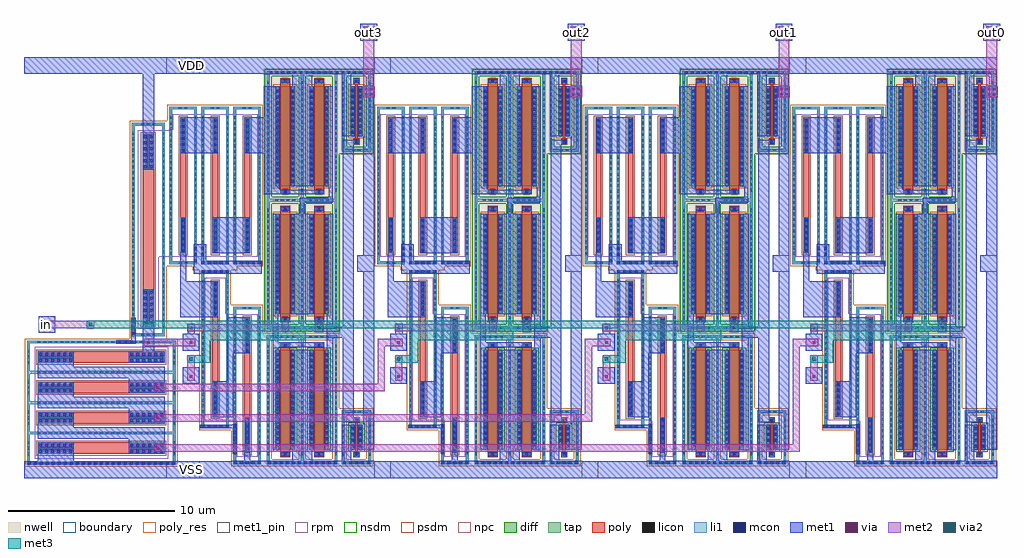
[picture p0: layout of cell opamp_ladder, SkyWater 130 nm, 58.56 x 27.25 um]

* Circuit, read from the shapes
.subckt opamp_ladder VDD VSS in out0 out1 out2 out3
XM1 VSS n1 n1 VSS sky130_fd_pr__nfet_01v8 w=6 l=0.6
XM2 n2 n1 VSS VSS sky130_fd_pr__nfet_01v8 w=6 l=0.6
XM3 out3 n2 VSS VSS sky130_fd_pr__nfet_01v8 w=1.5 l=0.15
XM4 VSS n3 n3 VSS sky130_fd_pr__nfet_01v8 w=6 l=0.6
XM5 n4 n3 VSS VSS sky130_fd_pr__nfet_01v8 w=6 l=0.6
XM6 out2 n4 VSS VSS sky130_fd_pr__nfet_01v8 w=1.5 l=0.15
XM7 VSS n5 n5 VSS sky130_fd_pr__nfet_01v8 w=6 l=0.6
XM8 n6 n5 VSS VSS sky130_fd_pr__nfet_01v8 w=6 l=0.6
XM9 out1 n6 VSS VSS sky130_fd_pr__nfet_01v8 w=1.5 l=0.15
XM10 VSS n7 n7 VSS sky130_fd_pr__nfet_01v8 w=6 l=0.6
XM11 n8 n7 VSS VSS sky130_fd_pr__nfet_01v8 w=6 l=0.6
XM12 out0 n8 VSS VSS sky130_fd_pr__nfet_01v8 w=1.5 l=0.15
XM13 n9 opamp_5/vin_n n1 VDD sky130_fd_pr__pfet_01v8 w=6 l=0.6
XM14 VDD n10 n10 VDD sky130_fd_pr__pfet_01v8 w=6 l=0.6
XM15 n2 in n9 VDD sky130_fd_pr__pfet_01v8 w=6 l=0.6
XM16 n9 n10 VDD VDD sky130_fd_pr__pfet_01v8 w=6 l=0.6
XM17 out3 n2 VDD VDD sky130_fd_pr__pfet_01v8 w=3 l=0.15
XM18 n11 opamp_6/vin_n n3 VDD sky130_fd_pr__pfet_01v8 w=6 l=0.6
XM19 VDD n12 n12 VDD sky130_fd_pr__pfet_01v8 w=6 l=0.6
XM20 n4 in n11 VDD sky130_fd_pr__pfet_01v8 w=6 l=0.6
XM21 n11 n12 VDD VDD sky130_fd_pr__pfet_01v8 w=6 l=0.6
XM22 out2 n4 VDD VDD sky130_fd_pr__pfet_01v8 w=3 l=0.15
XM23 n13 opamp_7/vin_n n5 VDD sky130_fd_pr__pfet_01v8 w=6 l=0.6
XM24 VDD n14 n14 VDD sky130_fd_pr__pfet_01v8 w=6 l=0.6
XM25 n6 in n13 VDD sky130_fd_pr__pfet_01v8 w=6 l=0.6
XM26 n13 n14 VDD VDD sky130_fd_pr__pfet_01v8 w=6 l=0.6
XM27 out1 n6 VDD VDD sky130_fd_pr__pfet_01v8 w=3 l=0.15
XM28 n15 opamp_8/vin_n n7 VDD sky130_fd_pr__pfet_01v8 w=6 l=0.6
XM29 VDD n16 n16 VDD sky130_fd_pr__pfet_01v8 w=6 l=0.6
XM30 n8 in n15 VDD sky130_fd_pr__pfet_01v8 w=6 l=0.6
XM31 n15 n16 VDD VDD sky130_fd_pr__pfet_01v8 w=6 l=0.6
XM32 out0 n8 VDD VDD sky130_fd_pr__pfet_01v8 w=3 l=0.15
XR33 opamp_8/vin_n VSS VSS sky130_fd_pr__res_high_po w=0.69 l=3.33
XR34 opamp_7/vin_n opamp_8/vin_n VSS sky130_fd_pr__res_high_po w=0.69 l=3.33
XR35 opamp_6/vin_n opamp_7/vin_n VSS sky130_fd_pr__res_high_po w=0.69 l=3.33
XR36 opamp_5/vin_n opamp_6/vin_n VSS sky130_fd_pr__res_high_po w=0.69 l=3.33
XR37 VDD opamp_5/vin_n VSS sky130_fd_pr__res_high_po w=0.69 l=7.22
XR38 n17 n18 VSS sky130_fd_pr__res_high_po w=0.35 l=3.88
XR39 n18 n19 VSS sky130_fd_pr__res_high_po w=0.35 l=3.88
XR40 n17 n20 VSS sky130_fd_pr__res_high_po w=0.35 l=3.88
XR41 n19 VSS VSS sky130_fd_pr__res_high_po w=0.35 l=3.88
XR42 n10 n20 VSS sky130_fd_pr__res_high_po w=0.35 l=3.88
XR43 n21 n22 VSS sky130_fd_pr__res_high_po w=0.35 l=3.88
XR44 n22 n23 VSS sky130_fd_pr__res_high_po w=0.35 l=3.88
XR45 n21 n24 VSS sky130_fd_pr__res_high_po w=0.35 l=3.88
XR46 n23 VSS VSS sky130_fd_pr__res_high_po w=0.35 l=3.88
XR47 n12 n24 VSS sky130_fd_pr__res_high_po w=0.35 l=3.88
XR48 n25 n26 VSS sky130_fd_pr__res_high_po w=0.35 l=3.88
XR49 n26 n27 VSS sky130_fd_pr__res_high_po w=0.35 l=3.88
XR50 n25 n28 VSS sky130_fd_pr__res_high_po w=0.35 l=3.88
XR51 n27 VSS VSS sky130_fd_pr__res_high_po w=0.35 l=3.88
XR52 n14 n28 VSS sky130_fd_pr__res_high_po w=0.35 l=3.88
XR53 n29 n30 VSS sky130_fd_pr__res_high_po w=0.35 l=3.88
XR54 n30 n31 VSS sky130_fd_pr__res_high_po w=0.35 l=3.88
XR55 n29 n32 VSS sky130_fd_pr__res_high_po w=0.35 l=3.88
XR56 n31 VSS VSS sky130_fd_pr__res_high_po w=0.35 l=3.88
XR57 n16 n32 VSS sky130_fd_pr__res_high_po w=0.35 l=3.88
.ends

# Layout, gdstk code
from math import pi, radians
import gdstk
lib = gdstk.Library(unit=1e-6, precision=1e-09)
def R(c, l, rs):  # rectangles x0, y0, x1, y1
    for r in rs: c.add(gdstk.rectangle(r[:2], r[2:], *l))
def A(c, l, x, y, w, h, nx, ny, dx, dy):  # array of equal rectangles
    R(c, l, [(x+i*dx, y+j*dy, x+i*dx+w, y+j*dy+h) for i in range(nx) for j in range(ny)])
nwell = (64, 20)
diff = (65, 20)
tap = (65, 44)
poly_res = (66, 13)
poly = (66, 20)
licon = (66, 44)
li1 = (67, 20)
mcon = (67, 44)
met1_pin = (68, 16)
met1 = (68, 20)
via = (68, 44)
met2 = (69, 20)
via2 = (69, 44)
met3 = (70, 20)
rpm = (86, 20)
nsdm = (93, 44)
psdm = (94, 20)
npc = (95, 20)
boundary = (235, 4)

sky130_fd_pr__res_high_p = lib.new_cell('sky130_fd_pr__res_high_po_0p69_B9B9MH')
R(sky130_fd_pr__res_high_p, tap, [(-0.995,-4.455,0.995,-4.285), (-0.995,-4.285,-0.825,4.285), (0.825,-4.285,0.995,4.285), (-0.995,4.285,0.995,4.455)])
R(sky130_fd_pr__res_high_p, poly_res, [(-0.345,-1.725,0.345,1.725)])
R(sky130_fd_pr__res_high_p, poly, [(-0.345,-3.805,0.345,3.805)])
A(sky130_fd_pr__res_high_p, licon, -0.425, -4.455, 0.17, 0.17, 3, 2, 0.34, 8.74)
A(sky130_fd_pr__res_high_p, licon, -0.995, -3.825, 0.17, 0.17, 1, 23, 0, 0.34)
A(sky130_fd_pr__res_high_p, licon, 0.825, -3.825, 0.17, 0.17, 1, 23, 0, 0.34)
R(sky130_fd_pr__res_high_p, licon, [(-0.095,-3.725,0.095,-1.725), (-0.095,1.725,0.095,3.725)])
R(sky130_fd_pr__res_high_p, li1, [(-0.995,-4.455,0.995,-4.285), (-0.995,-4.285,-0.825,4.285), (0.825,-4.285,0.995,4.285), (-0.345,-3.805,0.345,-1.645), (-0.345,1.645,0.345,3.805), (-0.995,4.285,0.995,4.455)])
A(sky130_fd_pr__res_high_p, mcon, -0.265, -3.71, 0.17, 0.17, 1, 6, 0, 0.36)
A(sky130_fd_pr__res_high_p, mcon, 0.095, -3.71, 0.17, 0.17, 1, 6, 0, 0.36)
A(sky130_fd_pr__res_high_p, mcon, -0.265, 1.735, 0.17, 0.17, 1, 6, 0, 0.36)
A(sky130_fd_pr__res_high_p, mcon, 0.095, 1.735, 0.17, 0.17, 1, 6, 0, 0.36)
R(sky130_fd_pr__res_high_p, met1, [(-0.295,-3.775,0.295,-1.67), (-0.295,1.67,0.295,3.775)])
R(sky130_fd_pr__res_high_p, rpm, [(-0.635,-4.005,0.635,4.005)])
R(sky130_fd_pr__res_high_p, psdm, [(-1.12,-4.58,1.12,4.58)])
R(sky130_fd_pr__res_high_p, npc, [(-0.44,-3.9,0.44,3.9)])
R(sky130_fd_pr__res_high_p, boundary, [(-0.91,-4.37,0.91,4.37)])

c_sky130_fd_pr__res_high_p = lib.new_cell('sky130_fd_pr__res_high_po_0p69_PFVE8M')
R(c_sky130_fd_pr__res_high_p, tap, [(-0.995,-6.4,0.995,-6.23), (-0.995,-6.23,-0.825,6.23), (0.825,-6.23,0.995,6.23), (-0.995,6.23,0.995,6.4)])
R(c_sky130_fd_pr__res_high_p, poly_res, [(-0.345,-3.67,0.345,3.67)])
R(c_sky130_fd_pr__res_high_p, poly, [(-0.345,-5.75,0.345,5.75)])
A(c_sky130_fd_pr__res_high_p, licon, -0.425, -6.4, 0.17, 0.17, 3, 2, 0.34, 12.63)
A(c_sky130_fd_pr__res_high_p, licon, -0.995, -5.865, 0.17, 0.17, 1, 35, 0, 0.34)
A(c_sky130_fd_pr__res_high_p, licon, 0.825, -5.865, 0.17, 0.17, 1, 35, 0, 0.34)
R(c_sky130_fd_pr__res_high_p, licon, [(-0.095,-5.67,0.095,-3.67), (-0.095,3.67,0.095,5.67)])
R(c_sky130_fd_pr__res_high_p, li1, [(-0.995,-6.4,0.995,-6.23), (-0.995,-6.23,-0.825,6.23), (0.825,-6.23,0.995,6.23), (-0.345,-5.75,0.345,-3.59), (-0.345,3.59,0.345,5.75), (-0.995,6.23,0.995,6.4)])
A(c_sky130_fd_pr__res_high_p, mcon, -0.265, -5.655, 0.17, 0.17, 1, 6, 0, 0.36)
A(c_sky130_fd_pr__res_high_p, mcon, 0.095, -5.655, 0.17, 0.17, 1, 6, 0, 0.36)
A(c_sky130_fd_pr__res_high_p, mcon, -0.265, 3.68, 0.17, 0.17, 1, 6, 0, 0.36)
A(c_sky130_fd_pr__res_high_p, mcon, 0.095, 3.68, 0.17, 0.17, 1, 6, 0, 0.36)
R(c_sky130_fd_pr__res_high_p, met1, [(-0.295,-5.72,0.295,-3.615), (-0.295,3.615,0.295,5.72)])
R(c_sky130_fd_pr__res_high_p, rpm, [(-0.635,-5.95,0.635,5.95)])
R(c_sky130_fd_pr__res_high_p, psdm, [(-1.12,-6.525,1.12,6.525)])
R(c_sky130_fd_pr__res_high_p, npc, [(-0.44,-5.845,0.44,5.845)])
R(c_sky130_fd_pr__res_high_p, boundary, [(-0.91,-6.315,0.91,6.315)])

c_sky130_fd_pr__res_high_p_ = lib.new_cell('sky130_fd_pr__res_high_po_0p35_WFRDHL')
R(c_sky130_fd_pr__res_high_p_, tap, [(-0.825,-4.73,0.825,-4.56), (-0.825,-4.56,-0.655,4.56), (0.655,-4.56,0.825,4.56), (-0.825,4.56,0.825,4.73)])
R(c_sky130_fd_pr__res_high_p_, poly_res, [(-0.175,-2,0.175,2)])
R(c_sky130_fd_pr__res_high_p_, poly, [(-0.175,-4.08,0.175,4.08)])
A(c_sky130_fd_pr__res_high_p_, licon, -0.825, -4.165, 0.17, 0.17, 1, 25, 0, 0.34)
A(c_sky130_fd_pr__res_high_p_, licon, 0.655, -4.165, 0.17, 0.17, 1, 25, 0, 0.34)
R(c_sky130_fd_pr__res_high_p_, licon, [(-0.255,-4.73,-0.085,-4.56), (0.085,-4.73,0.255,-4.56), (-0.095,-4,0.095,-2), (-0.095,2,0.095,4), (-0.255,4.56,-0.085,4.73), (0.085,4.56,0.255,4.73)])
R(c_sky130_fd_pr__res_high_p_, li1, [(-0.825,-4.73,0.825,-4.56), (-0.825,-4.56,-0.655,4.56), (0.655,-4.56,0.825,4.56), (-0.175,-4.08,0.175,-1.92), (-0.175,1.92,0.175,4.08), (-0.825,4.56,0.825,4.73)])
A(c_sky130_fd_pr__res_high_p_, mcon, -0.085, -3.985, 0.17, 0.17, 1, 6, 0, 0.36)
A(c_sky130_fd_pr__res_high_p_, mcon, -0.085, 2.01, 0.17, 0.17, 1, 6, 0, 0.36)
R(c_sky130_fd_pr__res_high_p_, met1, [(-0.125,-4.05,0.125,-1.945), (-0.125,1.945,0.125,4.05)])
R(c_sky130_fd_pr__res_high_p_, rpm, [(-0.635,-4.28,0.635,4.28)])
R(c_sky130_fd_pr__res_high_p_, psdm, [(-0.95,-4.855,0.95,4.855)])
R(c_sky130_fd_pr__res_high_p_, npc, [(-0.27,-4.175,0.27,4.175)])
R(c_sky130_fd_pr__res_high_p_, boundary, [(-0.74,-4.645,0.74,4.645)])

sky130_fd_pr__pfet_01v8_ = lib.new_cell('sky130_fd_pr__pfet_01v8_XPP7BA')
R(sky130_fd_pr__pfet_01v8_, nwell, [(-1.28,-4.095,1.28,4.095)])
R(sky130_fd_pr__pfet_01v8_, diff, [(-0.59,-3,0.59,3)])
R(sky130_fd_pr__pfet_01v8_, tap, [(-1.1,-3.915,1.1,-3.745), (-1.1,-3.745,-0.93,3.745), (0.93,-3.745,1.1,3.745), (-1.1,3.745,1.1,3.915)])
R(sky130_fd_pr__pfet_01v8_, poly, [(-0.3,-3.485,0.3,3.485)])
A(sky130_fd_pr__pfet_01v8_, licon, -0.595, -3.915, 0.17, 0.17, 4, 2, 0.34, 7.66)
A(sky130_fd_pr__pfet_01v8_, licon, -1.1, -3.315, 0.17, 0.17, 1, 20, 0, 0.34)
A(sky130_fd_pr__pfet_01v8_, licon, 0.93, -3.315, 0.17, 0.17, 1, 20, 0, 0.34)
A(sky130_fd_pr__pfet_01v8_, licon, -0.53, -2.805, 0.17, 0.17, 1, 17, 0, 0.34)
A(sky130_fd_pr__pfet_01v8_, licon, 0.36, -2.805, 0.17, 0.17, 1, 17, 0, 0.34)
R(sky130_fd_pr__pfet_01v8_, licon, [(-0.085,-3.405,0.085,-3.235), (-0.085,3.235,0.085,3.405)])
R(sky130_fd_pr__pfet_01v8_, li1, [(-1.1,-3.915,1.1,-3.745), (-1.1,-3.745,-0.93,3.745), (0.93,-3.745,1.1,3.745), (-0.3,-3.405,0.3,-3.235), (-0.53,-3.02,-0.36,3.02), (0.36,-3.02,0.53,3.02), (-0.3,3.235,0.3,3.405), (-1.1,3.745,1.1,3.915)])
A(sky130_fd_pr__pfet_01v8_, mcon, -0.53, -2.785, 0.17, 0.17, 1, 16, 0, 0.36)
A(sky130_fd_pr__pfet_01v8_, mcon, 0.36, -2.785, 0.17, 0.17, 1, 16, 0, 0.36)
R(sky130_fd_pr__pfet_01v8_, mcon, [(-0.085,-3.405,0.085,-3.235), (-0.085,3.235,0.085,3.405)])
R(sky130_fd_pr__pfet_01v8_, met1, [(-0.28,-3.435,0.28,-3.205), (-0.56,-3,-0.33,3), (0.33,-3,0.56,3), (-0.28,3.205,0.28,3.435)])
R(sky130_fd_pr__pfet_01v8_, nsdm, [(-1.225,-4.04,1.225,-3.62), (-1.225,-3.62,-0.805,3.62), (0.805,-3.62,1.225,3.62), (-1.225,3.62,1.225,4.04)])
R(sky130_fd_pr__pfet_01v8_, psdm, [(-0.715,-3.125,0.715,3.125)])
R(sky130_fd_pr__pfet_01v8_, npc, [(-0.185,-3.505,0.185,-3.135), (-0.185,3.135,0.185,3.505)])
R(sky130_fd_pr__pfet_01v8_, boundary, [(-1.015,-3.83,1.015,3.83)])

c_sky130_fd_pr__pfet_01v8_ = lib.new_cell('sky130_fd_pr__pfet_01v8_XGSNAL')
R(c_sky130_fd_pr__pfet_01v8_, nwell, [(-1.055,-2.595,1.055,2.595)])
R(c_sky130_fd_pr__pfet_01v8_, diff, [(-0.365,-1.5,0.365,1.5)])
R(c_sky130_fd_pr__pfet_01v8_, tap, [(-0.875,-2.415,0.875,-2.245), (-0.875,-2.245,-0.705,2.245), (0.705,-2.245,0.875,2.245), (-0.875,2.245,0.875,2.415)])
R(c_sky130_fd_pr__pfet_01v8_, poly, [(-0.165,-1.985,0.165,-1.655), (-0.075,-1.655,0.075,1.655), (-0.165,1.655,0.165,1.985)])
A(c_sky130_fd_pr__pfet_01v8_, licon, -0.875, -1.785, 0.17, 0.17, 1, 11, 0, 0.34)
A(c_sky130_fd_pr__pfet_01v8_, licon, 0.705, -1.785, 0.17, 0.17, 1, 11, 0, 0.34)
A(c_sky130_fd_pr__pfet_01v8_, licon, -0.305, -1.275, 0.17, 0.17, 1, 8, 0, 0.34)
A(c_sky130_fd_pr__pfet_01v8_, licon, 0.135, -1.275, 0.17, 0.17, 1, 8, 0, 0.34)
R(c_sky130_fd_pr__pfet_01v8_, licon, [(-0.255,-2.415,-0.085,-2.245), (0.085,-2.415,0.255,-2.245), (-0.085,-1.905,0.085,-1.735), (-0.085,1.735,0.085,1.905), (-0.255,2.245,-0.085,2.415), (0.085,2.245,0.255,2.415)])
R(c_sky130_fd_pr__pfet_01v8_, li1, [(-0.875,-2.415,0.875,-2.245), (-0.875,-2.245,-0.705,2.245), (0.705,-2.245,0.875,2.245), (-0.165,-1.905,0.165,-1.735), (-0.305,-1.52,-0.135,1.52), (0.135,-1.52,0.305,1.52), (-0.165,1.735,0.165,1.905), (-0.875,2.245,0.875,2.415)])
A(c_sky130_fd_pr__pfet_01v8_, mcon, -0.305, -1.345, 0.17, 0.17, 1, 8, 0, 0.36)
A(c_sky130_fd_pr__pfet_01v8_, mcon, 0.135, -1.345, 0.17, 0.17, 1, 8, 0, 0.36)
R(c_sky130_fd_pr__pfet_01v8_, mcon, [(-0.085,-1.905,0.085,-1.735), (-0.085,1.735,0.085,1.905)])
R(c_sky130_fd_pr__pfet_01v8_, met1, [(-0.145,-1.935,0.145,-1.705), (-0.335,-1.5,-0.105,1.5), (0.105,-1.5,0.335,1.5), (-0.145,1.705,0.145,1.935)])
R(c_sky130_fd_pr__pfet_01v8_, nsdm, [(-1,-2.54,1,-2.12), (-1,-2.12,-0.58,2.12), (0.58,-2.12,1,2.12), (-1,2.12,1,2.54)])
R(c_sky130_fd_pr__pfet_01v8_, psdm, [(-0.49,-1.625,0.49,1.625)])
R(c_sky130_fd_pr__pfet_01v8_, npc, [(-0.185,-2.005,0.185,-1.635), (-0.185,1.635,0.185,2.005)])
R(c_sky130_fd_pr__pfet_01v8_, boundary, [(-0.79,-2.33,0.79,2.33)])

sky130_fd_pr__nfet_01v8_ = lib.new_cell('sky130_fd_pr__nfet_01v8_848SAM')
R(sky130_fd_pr__nfet_01v8_, diff, [(-0.365,-0.75,0.365,0.75)])
R(sky130_fd_pr__nfet_01v8_, tap, [(-0.875,-1.62,0.875,-1.45), (-0.875,-1.45,-0.705,1.45), (0.705,-1.45,0.875,1.45), (-0.875,1.45,0.875,1.62)])
R(sky130_fd_pr__nfet_01v8_, poly, [(-0.165,-1.19,0.165,-0.86), (-0.075,-0.86,0.075,0.86), (-0.165,0.86,0.165,1.19)])
A(sky130_fd_pr__nfet_01v8_, licon, -0.875, -1.105, 0.17, 0.17, 1, 7, 0, 0.34)
A(sky130_fd_pr__nfet_01v8_, licon, 0.705, -1.105, 0.17, 0.17, 1, 7, 0, 0.34)
A(sky130_fd_pr__nfet_01v8_, licon, -0.305, -0.595, 0.17, 0.17, 1, 4, 0, 0.34)
A(sky130_fd_pr__nfet_01v8_, licon, 0.135, -0.595, 0.17, 0.17, 1, 4, 0, 0.34)
R(sky130_fd_pr__nfet_01v8_, licon, [(-0.255,-1.62,-0.085,-1.45), (0.085,-1.62,0.255,-1.45), (-0.085,-1.11,0.085,-0.94), (-0.085,0.94,0.085,1.11), (-0.255,1.45,-0.085,1.62), (0.085,1.45,0.255,1.62)])
R(sky130_fd_pr__nfet_01v8_, li1, [(-0.875,-1.62,0.875,-1.45), (-0.875,-1.45,-0.705,1.45), (0.705,-1.45,0.875,1.45), (-0.165,-1.11,0.165,-0.94), (-0.305,-0.77,-0.135,0.77), (0.135,-0.77,0.305,0.77), (-0.165,0.94,0.165,1.11), (-0.875,1.45,0.875,1.62)])
A(sky130_fd_pr__nfet_01v8_, mcon, -0.305, -0.625, 0.17, 0.17, 1, 4, 0, 0.36)
A(sky130_fd_pr__nfet_01v8_, mcon, 0.135, -0.625, 0.17, 0.17, 1, 4, 0, 0.36)
R(sky130_fd_pr__nfet_01v8_, mcon, [(-0.085,-1.11,0.085,-0.94), (-0.085,0.94,0.085,1.11)])
R(sky130_fd_pr__nfet_01v8_, met1, [(-0.145,-1.14,0.145,-0.91), (-0.335,-0.75,-0.105,0.75), (0.105,-0.75,0.335,0.75), (-0.145,0.91,0.145,1.14)])
R(sky130_fd_pr__nfet_01v8_, nsdm, [(-0.49,-0.875,0.49,0.875)])
R(sky130_fd_pr__nfet_01v8_, psdm, [(-1,-1.745,1,-1.325), (-1,-1.325,-0.58,1.325), (0.58,-1.325,1,1.325), (-1,1.325,1,1.745)])
R(sky130_fd_pr__nfet_01v8_, npc, [(-0.185,-1.21,0.185,-0.84), (-0.185,0.84,0.185,1.21)])
R(sky130_fd_pr__nfet_01v8_, boundary, [(-0.79,-1.535,0.79,1.535)])

c_sky130_fd_pr__nfet_01v8_ = lib.new_cell('sky130_fd_pr__nfet_01v8_3BHWKV')
R(c_sky130_fd_pr__nfet_01v8_, diff, [(-0.59,-3,0.59,3)])
R(c_sky130_fd_pr__nfet_01v8_, tap, [(-1.1,-3.87,1.1,-3.7), (-1.1,-3.7,-0.93,3.7), (0.93,-3.7,1.1,3.7), (-1.1,3.7,1.1,3.87)])
R(c_sky130_fd_pr__nfet_01v8_, poly, [(-0.3,-3.44,0.3,3.44)])
A(c_sky130_fd_pr__nfet_01v8_, licon, -0.595, -3.87, 0.17, 0.17, 4, 2, 0.34, 7.57)
A(c_sky130_fd_pr__nfet_01v8_, licon, -1.1, -3.315, 0.17, 0.17, 1, 20, 0, 0.34)
A(c_sky130_fd_pr__nfet_01v8_, licon, 0.93, -3.315, 0.17, 0.17, 1, 20, 0, 0.34)
A(c_sky130_fd_pr__nfet_01v8_, licon, -0.53, -2.805, 0.17, 0.17, 1, 17, 0, 0.34)
A(c_sky130_fd_pr__nfet_01v8_, licon, 0.36, -2.805, 0.17, 0.17, 1, 17, 0, 0.34)
R(c_sky130_fd_pr__nfet_01v8_, licon, [(-0.085,-3.36,0.085,-3.19), (-0.085,3.19,0.085,3.36)])
R(c_sky130_fd_pr__nfet_01v8_, li1, [(-1.1,-3.87,1.1,-3.7), (-1.1,-3.7,-0.93,3.7), (0.93,-3.7,1.1,3.7), (-0.3,-3.36,0.3,-3.19), (-0.53,-3.02,-0.36,3.02), (0.36,-3.02,0.53,3.02), (-0.3,3.19,0.3,3.36), (-1.1,3.7,1.1,3.87)])
A(c_sky130_fd_pr__nfet_01v8_, mcon, -0.53, -2.785, 0.17, 0.17, 1, 16, 0, 0.36)
A(c_sky130_fd_pr__nfet_01v8_, mcon, 0.36, -2.785, 0.17, 0.17, 1, 16, 0, 0.36)
R(c_sky130_fd_pr__nfet_01v8_, mcon, [(-0.085,-3.36,0.085,-3.19), (-0.085,3.19,0.085,3.36)])
R(c_sky130_fd_pr__nfet_01v8_, met1, [(-0.28,-3.39,0.28,-3.16), (-0.56,-3,-0.33,3), (0.33,-3,0.56,3), (-0.28,3.16,0.28,3.39)])
R(c_sky130_fd_pr__nfet_01v8_, nsdm, [(-0.715,-3.125,0.715,3.125)])
R(c_sky130_fd_pr__nfet_01v8_, psdm, [(-1.225,-3.995,1.225,-3.575), (-1.225,-3.575,-0.805,3.575), (0.805,-3.575,1.225,3.575), (-1.225,3.575,1.225,3.995)])
R(c_sky130_fd_pr__nfet_01v8_, npc, [(-0.185,-3.46,0.185,-3.09), (-0.185,3.09,0.185,3.46)])
R(c_sky130_fd_pr__nfet_01v8_, boundary, [(-1.01,-3.78,1.01,3.78)])

opamp = lib.new_cell('opamp')
R(opamp, li1, [(36.76,-5.81,38.41,-5.64), (38.77,-5.81,43,-5.64), (43.27,-5.81,45.02,-5.64), (36.76,-5.11,36.93,-3.46), (34.84,-3.63,36.49,-3.46), (34.84,5.66,36.49,5.83), (34.4,6.19,34.57,7.34), (34.84,6.19,36.49,6.36), (36.76,6.19,38.41,6.36), (34.84,6.36,35.01,7.34), (38.77,17.61,45.02,17.78)])
A(opamp, mcon, 36.78, -5.81, 0.17, 0.17, 5, 2, 0.36, 12)
A(opamp, mcon, 38.82, -5.81, 0.17, 0.17, 12, 1, 0.36, 0)
A(opamp, mcon, 43.34, -5.81, 0.17, 0.17, 5, 1, 0.36, 0)
A(opamp, mcon, 36.76, -5.09, 0.17, 0.17, 1, 5, 0, 0.36)
A(opamp, mcon, 34.86, -3.63, 0.17, 0.17, 5, 2, 0.36, 9.29)
A(opamp, mcon, 35.22, 6.19, 0.17, 0.17, 4, 1, 0.36, 0)
A(opamp, mcon, 34.4, 6.32, 0.17, 0.17, 1, 3, 0, 0.36)
A(opamp, mcon, 38.93, 17.61, 0.17, 0.17, 17, 1, 0.36, 0)
R(opamp, mcon, [(34.84,6.19,35.01,6.36), (34.84,6.68,35.01,6.85), (34.84,7.04,35.01,7.21)])
R(opamp, met1_pin, [(32.74,-6.64,33.74,-5.64), (33.71,-0.99,34.71,0.01), (33.71,1.01,34.71,2.01), (44.2,5.73,45.2,6.73), (32.74,17.61,33.74,18.61)])
R(opamp, met1, [(32.74,-6.64,45.2,-5.64), (36.7,-5.64,45.2,-5.61), (37.41,-5.61,37.76,-5.01), (40.29,-5.61,41.48,-4.94), (43.27,-5.61,43.84,-4.94), (43.98,-5.38,44.31,-5.1), (36.73,-5.17,36.96,-3.66), (42.35,-4.97,42.75,-4.91), (39.11,-4.94,39.51,1.06), (40.23,-4.94,41.54,1.06), (42.26,-4.94,42.33,-4.91), (43.27,-4.94,44.01,-3.44), (44.28,-4.94,45.2,-3.44), (42.26,-4.91,42.75,1.06), (34.78,-3.66,36.96,-3.43), (44.55,-3.44,45.2,5.73), (36.73,-3.43,36.96,-3.4), (43.33,-3.28,44.31,-3), (43.33,-3,43.98,1.77), (35.49,-2.98,36.76,-0.82), (33.71,-0.99,34.71,0.01), (36.4,-0.82,36.76,0.84), (36.4,0.84,37.76,3), (33.71,1.01,34.71,2.01), (39.11,1.06,39.45,1.22), (42.35,1.06,42.75,1.77), (39.11,1.22,42.2,1.5), (39.11,1.5,39.45,3.2), (42.35,1.77,43.98,2.45), (34.01,2.01,34.45,2.63), (39.65,2.13,40.09,2.97), (41.68,2.13,42.12,2.97), (42.35,2.45,42.75,3.2), (43.33,2.45,43.98,13.38), (33.57,3.02,35.84,5.18), (39.11,3.2,39.51,9.21), (40.2,3.2,41.57,9.21), (42.26,3.2,42.75,9.16), (33.57,5.18,33.92,6.98), (34.37,5.63,38.47,6.39), (44.2,5.73,45.2,6.73), (34.37,6.39,35.13,7.4), (44.55,6.73,45.2,13.86), (35.49,6.84,37.76,9), (42.23,9.16,42.75,9.21), (40.74,9.21,41.03,9.89), (40.74,9.89,42.72,10.18), (42.49,10.18,42.72,10.86), (38.59,10.38,42.2,10.66), (38.59,10.66,39.54,11.04), (40.23,10.86,41.54,16.87), (42.26,10.86,42.72,16.87), (38.59,11.04,39.51,12.84), (33.57,12.84,35.84,15), (37.41,12.84,39.51,15), (43.33,13.38,44.31,13.66), (43.27,13.86,44.01,16.87), (44.25,13.86,45.2,16.87), (38.59,15,39.51,16.87), (40.29,16.87,41.48,17.58), (43.27,16.87,43.84,17.58), (43.98,17.07,44.31,17.35), (38.59,17.58,45.2,17.61), (32.74,17.61,45.2,18.61)])
R(opamp, via, [(34.145,-0.615,34.295,-0.465), (34.155,2.305,34.305,2.455), (39.795,2.305,39.945,2.455), (41.825,2.305,41.975,2.455)])
R(opamp, met2, [(34,-0.79,34.44,0.72), (34.025,0.72,34.415,0.74), (41.63,2.11,42.17,2.65), (33.98,2.16,40.12,2.6)])
R(opamp, via2, [(34.12,0.4,34.32,0.6), (41.8,2.28,42,2.48)])
R(opamp, met3, [(34,0.28,35.38,0.72), (34.94,0.72,35.38,1.63), (34.94,1.63,41.1,2.07), (40.66,2.07,41.1,2.16), (41.68,2.11,42.12,2.135), (41.655,2.135,42.145,2.16), (40.66,2.16,42.145,2.6), (41.655,2.6,42.145,2.625)])
R(opamp, rpm, [(36.3,-3.18,36.95,3.2), (34.38,6.64,35.03,15.2), (36.3,6.64,36.95,15.2)])
R(opamp, nsdm, [(43.125,12.825,43.145,17.905)])
R(opamp, psdm, [(38.535,-5.935,38.645,2.055), (43.125,-5.935,43.145,-2.445), (36.615,-3.755,36.635,3.775), (34.335,5.82,34.715,5.955), (36.615,5.82,36.995,5.955), (34.335,5.955,36.995,6.065), (34.695,6.065,34.715,15.775), (36.615,6.065,36.635,15.775)])
opamp.add(gdstk.Reference(c_sky130_fd_pr__res_high_p_, (35.665,1.1)))
opamp.add(gdstk.Reference(c_sky130_fd_pr__res_high_p_, (37.585,-1.08)))
opamp.add(gdstk.Reference(c_sky130_fd_pr__res_high_p_, (37.585,10.92)))
opamp.add(gdstk.Reference(c_sky130_fd_pr__res_high_p_, (35.665,10.92)))
opamp.add(gdstk.Reference(c_sky130_fd_pr__res_high_p_, (33.745,10.92)))
opamp.add(gdstk.Reference(sky130_fd_pr__pfet_01v8_, (39.87,13.865)))
opamp.add(gdstk.Reference(c_sky130_fd_pr__pfet_01v8_, (44.145,15.365)))
opamp.add(gdstk.Reference(sky130_fd_pr__nfet_01v8_, (44.145,-4.19)))
opamp.add(gdstk.Reference(sky130_fd_pr__pfet_01v8_, (41.9,13.865)))
opamp.add(gdstk.Reference(c_sky130_fd_pr__nfet_01v8_, (41.9,-1.94)))
opamp.add(gdstk.Reference(c_sky130_fd_pr__nfet_01v8_, (39.87,-1.94)))
opamp.add(gdstk.Reference(sky130_fd_pr__pfet_01v8_, (41.9,6.205)))
opamp.add(gdstk.Reference(sky130_fd_pr__pfet_01v8_, (39.87,6.205)))
opamp.add(gdstk.Label('VDD', (33.24,18.11), layer=68, texttype=5))
opamp.add(gdstk.Label('vin_n', (34.21,1.51), layer=68, texttype=5))
opamp.add(gdstk.Label('vin_p', (34.21,-0.49), layer=68, texttype=5))
opamp.add(gdstk.Label('Vout', (44.7,6.23), layer=68, texttype=5))
opamp.add(gdstk.Label('VGND', (33.24,-6.14), layer=68, texttype=5))

opamp_ladder = lib.new_cell('opamp_ladder')
R(opamp_ladder, li1, [(-8.36,3.8,0.55,3.97), (-2.94,11.08,-1.91,11.25), (-2.08,11.52,-1.91,12.55)])
A(opamp_ladder, mcon, -8.31, 3.8, 0.17, 0.17, 25, 1, 0.36, 0)
A(opamp_ladder, mcon, -2.87, 11.08, 0.17, 0.17, 3, 1, 0.36, 0)
A(opamp_ladder, mcon, -2.08, 11.59, 0.17, 0.17, 1, 3, 0, 0.36)
R(opamp_ladder, met1_pin, [(1.01,3,2.01,4), (-7.67,11.72,-6.67,12.72), (1.01,27.25,2.01,28.25), (11.64,29.25,12.64,30.25), (24.09,29.25,25.09,30.25), (36.55,29.25,37.55,30.25), (49.02,29.25,50.02,30.25)])
R(opamp_ladder, met1, [(-8.54,3,1,4), (1.01,3,2.01,4), (2.44,3,3.15,4), (-7.71,4,-5.55,5.14), (-2.26,4.45,-0.1,5.37), (-7.71,5.37,-0.1,6.06), (-7.71,6.06,-5.55,6.96), (-2.26,6.27,-0.1,7.19), (-7.71,7.19,-0.1,7.88), (-7.71,7.88,-5.55,8.78), (-2.26,8.09,-0.1,9), (-7.71,9,-0.1,9.69), (-7.71,9.69,-5.55,10.6), (-2.26,9.91,-0.1,10.6), (-1.43,10.6,-0.74,14.33), (26.185,10.88,26.635,11.39), (38.64,10.88,39.08,11.38), (1.26,10.89,1.7,11.39), (13.72,10.89,14.16,11.39), (-3,11.05,-1.85,11.28), (-2.11,11.28,-1.85,12.61), (-7.67,11.72,-6.67,12.72), (24.27,17.505,24.92,26.545), (36.73,18.815,37.38,26.545), (11.81,19.115,12.46,26.545), (49.19,20.885,49.84,26.545), (-1.43,21.51,-0.74,27.25), (-8.54,27.25,4.03,28.25), (11.64,29.25,12.64,30.25), (24.09,29.25,25.09,30.25), (36.55,29.25,37.55,30.25), (49.02,29.25,50.02,30.25)])
R(opamp_ladder, via, [(-0.575,4.725,-0.425,4.875), (-0.575,6.535,-0.425,6.685), (-0.575,8.365,-0.425,8.515), (38.785,11.055,38.935,11.205), (26.335,11.06,26.485,11.21), (-1.155,11.065,-1.005,11.215), (1.405,11.065,1.555,11.215), (13.865,11.065,14.015,11.215), (-7.235,12.135,-7.085,12.285), (11.9,25.955,12.05,26.105), (12.22,25.955,12.37,26.105), (24.36,25.955,24.51,26.105), (24.68,25.955,24.83,26.105), (36.82,25.955,36.97,26.105), (37.14,25.955,37.29,26.105), (49.28,25.955,49.43,26.105), (49.6,25.955,49.75,26.105), (11.9,26.275,12.05,26.425), (12.22,26.275,12.37,26.425), (24.36,26.275,24.51,26.425), (24.68,26.275,24.83,26.425), (36.82,26.275,36.97,26.425), (37.14,26.275,37.29,26.425), (49.28,26.275,49.43,26.425), (49.6,26.275,49.75,26.425), (11.9,29.505,12.05,29.655), (12.22,29.505,12.37,29.655), (24.36,29.505,24.51,29.655), (24.68,29.505,24.83,29.655), (49.28,29.525,49.43,29.675), (49.6,29.525,49.75,29.675), (36.82,29.535,36.97,29.685), (37.14,29.535,37.29,29.685), (11.9,29.825,12.05,29.975), (12.22,29.825,12.37,29.975), (24.36,29.825,24.51,29.975), (24.68,29.825,24.83,29.975), (49.28,29.845,49.43,29.995), (49.6,29.845,49.75,29.995), (36.82,29.855,36.97,30.005), (37.14,29.855,37.29,30.005)])
A(opamp_ladder, met2, 11.78, 25.865, 0.71, 0.65, 4, 1, 12.46, 0)
R(opamp_ladder, met2, [(-0.75,4.58,38.01,5.02), (37.57,5.02,38.01,10.91), (-0.75,6.39,25.54,6.83), (25.1,6.83,25.54,10.91), (-0.75,8.22,13.11,8.65), (-0.75,8.65,0,8.66), (1,8.65,13.11,8.66), (12.67,8.66,13.11,10.92), (25.1,10.91,26.665,11.35), (37.57,10.91,39.11,11.35), (-1.33,10.92,1.73,11.36), (12.67,10.92,14.19,11.36), (25.52,11.35,26.665,11.36), (-4.755,11.97,-4.365,11.99), (-7.41,11.99,-4.34,12.43), (-4.755,12.43,-4.365,12.45), (11.81,26.515,12.46,30.095), (24.27,26.515,24.92,30.095), (36.73,26.515,37.38,30.125), (49.19,26.515,49.84,30.115)])
R(opamp_ladder, via2, [(-4.66,12.11,-4.46,12.31)])
A(opamp_ladder, met3, 2.2, 11.67, 5.8, 0.32, 4, 1, 12.46, 0)
R(opamp_ladder, met3, [(-4.78,11.99,46.76,12.43)])
A(opamp_ladder, rpm, -7.91, 5.43, 8.01, 0.55, 1, 3, 0, 1.82)
R(opamp_ladder, rpm, [(-0.45,16.28,0.37,23.87)])
R(opamp_ladder, psdm, [(-2.205,11.375,0.035,11.395), (0.035,15.705,0.055,24.445)])
opamp_ladder.add(gdstk.Reference(sky130_fd_pr__res_high_p, (-3.905,4.795), rotation=3*pi/2))
opamp_ladder.add(gdstk.Reference(sky130_fd_pr__res_high_p, (-3.905,6.615), rotation=3*pi/2))
opamp_ladder.add(gdstk.Reference(sky130_fd_pr__res_high_p, (-3.905,8.435), rotation=3*pi/2))
opamp_ladder.add(gdstk.Reference(sky130_fd_pr__res_high_p, (-3.905,10.255), rotation=3*pi/2))
opamp_ladder.add(gdstk.Reference(c_sky130_fd_pr__res_high_p, (-1.085,17.92), rotation=pi))
opamp_ladder.add(gdstk.Reference(opamp, (-32.74,9.64)))
opamp_ladder.add(gdstk.Reference(opamp, (-20.28,9.64)))
opamp_ladder.add(gdstk.Reference(opamp, (-7.82,9.64)))
opamp_ladder.add(gdstk.Reference(opamp, (4.64,9.64)))
opamp_ladder.add(gdstk.Label('VDD', (1.51,27.75), layer=68, texttype=5))
opamp_ladder.add(gdstk.Label('in', (-7.17,12.22), layer=68, texttype=5))
opamp_ladder.add(gdstk.Label('VSS', (1.51,3.5), layer=68, texttype=5))
opamp_ladder.add(gdstk.Label('out3', (12.14,29.75), layer=68, texttype=5))
opamp_ladder.add(gdstk.Label('out2', (24.59,29.75), layer=68, texttype=5))
opamp_ladder.add(gdstk.Label('out1', (37.05,29.75), layer=68, texttype=5))
opamp_ladder.add(gdstk.Label('out0', (49.52,29.75), layer=68, texttype=5))

lib.write_gds('opamp_ladder.gds')
